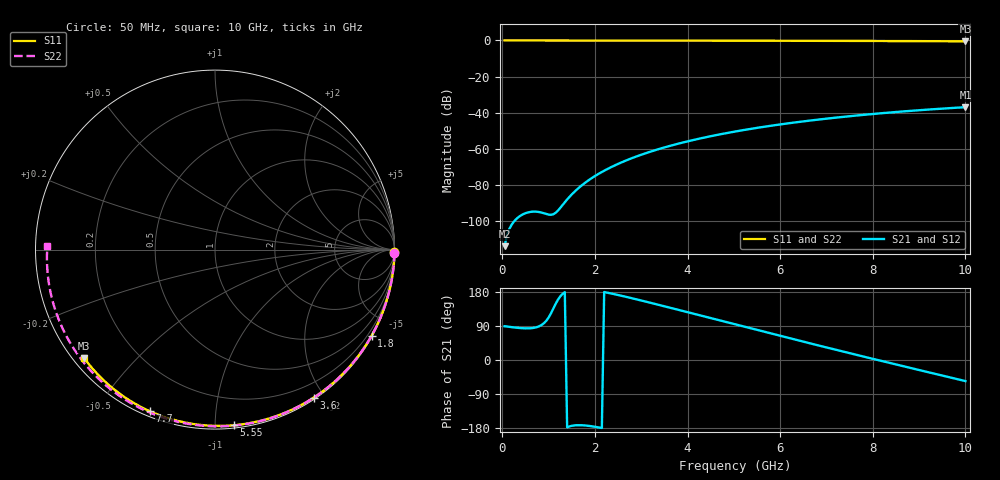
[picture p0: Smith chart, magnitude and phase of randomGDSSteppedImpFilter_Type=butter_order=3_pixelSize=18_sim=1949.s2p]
! freq	dB(S11)	phase(S11)	dB(S12)	phase(S12)
!  dB(S21)	phase(S21)	dB(S22)	phase(S22)
!S-par simulation data
#  GHz  S  DB  R 50
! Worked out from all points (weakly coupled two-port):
!   200 points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, 50 MHz to 10 GHz, reference 50 ohm
!   highest |S21| = -36.88 dB at 10 GHz (marker M1); lowest = -113.7 dB at 50 MHz (marker M2)
!   lowest |S11| = -0.5 dB at 10 GHz (marker M3), VSWR 36.60, Z = 1.54 - j18 ohm
!   |S11| at or under -10 dB: nowhere
!   |S22| runs from -0.6 to 0.0 dB; largest |S21 - S12| = 0
!   S11 on the Smith chart (normalised r, x): 50 MHz: open; 1.8 GHz: 0.03, -3.88; 3.6 GHz: 0.02, -1.87; 5.55 GHz: 0.02, -1.11; 7.7 GHz: 0.02, -0.67; 10 GHz: 0.03, -0.36
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0.05  -0.00 -0.8  -113.68 89.1  -113.68 89.1  -0.00 -1.0
0.45  -0.01 -7.3  -96.02 83.8  -96.02 83.8  -0.01 -9.3
0.85  -0.02 -13.8  -95.12 92.5  -95.12 92.5  -0.02 -17.5
1.25  -0.03 -20.2  -92.56 167.7  -92.56 167.7  -0.03 -25.6
1.7  -0.03 -27.3  -80.39 -172.1  -80.39 -172.1  -0.04 -34.6
1.75  -0.04 -28.1  -79.37 -172.4  -79.37 -172.4  -0.05 -35.6
1.8  -0.04 -28.9  -78.41 -172.9  -78.41 -172.9  -0.05 -36.5
2.1  -0.04 -33.6  -73.40 -178.3  -73.40 -178.3  -0.05 -42.5
2.3  -0.05 -36.7  -70.65 176.9  -70.65 176.9  -0.06 -46.4
2.5  -0.05 -39.8  -68.22 171.6  -68.22 171.6  -0.06 -50.2
2.9  -0.06 -45.9  -64.07 160.0  -64.07 160.0  -0.08 -57.9
3.4  -0.07 -53.4  -59.86 144.8  -59.86 144.8  -0.09 -67.3
3.6  -0.08 -56.3  -58.40 138.6  -58.40 138.6  -0.10 -70.9
4.3  -0.09 -66.5  -54.00 116.8  -54.00 116.8  -0.12 -83.6
5.05  -0.12 -77.1  -50.22 93.3  -50.22 93.3  -0.15 -96.8
5.55  -0.14 -84.0  -48.10 77.7  -48.10 77.7  -0.17 -105.3
6.1  -0.16 -91.3  -46.05 60.6  -46.05 60.6  -0.20 -114.6
6.7  -0.19 -99.2  -44.09 42.2  -44.09 42.2  -0.24 -124.6
7.7  -0.26 -112.0  -41.35 12.0  -41.35 12.0  -0.32 -141.2
8.35  -0.31 -120.1  -39.86 -7.3  -39.86 -7.3  -0.39 -152.1
9.2  -0.39 -130.5  -38.18 -32.3  -38.18 -32.3  -0.48 -166.7
10  -0.47 -140.3  -36.88 -55.6  -36.88 -55.6  -0.59 178.7
